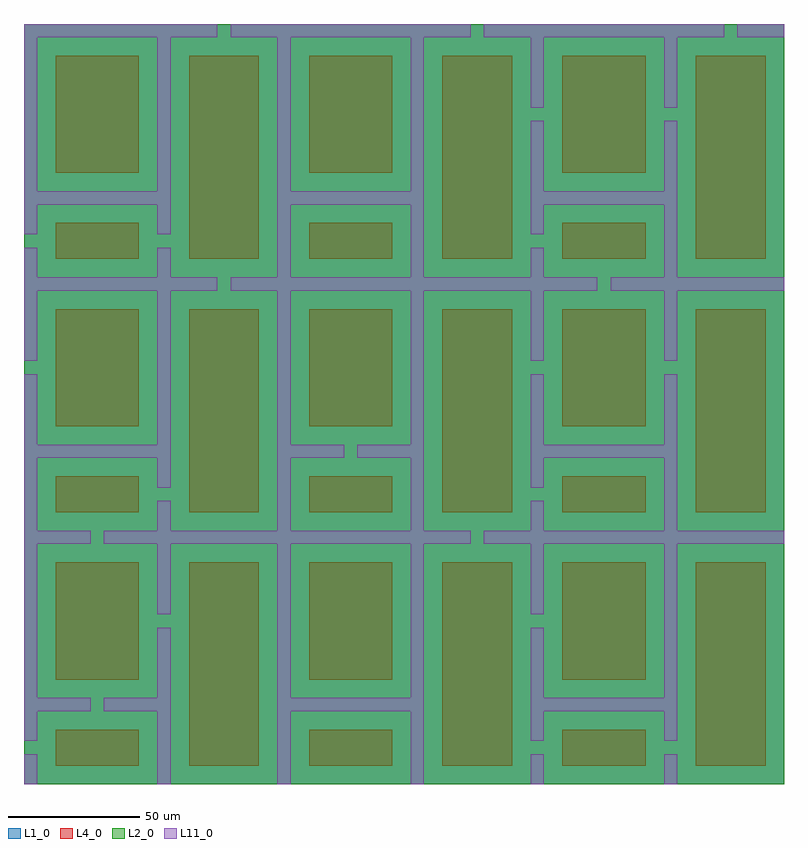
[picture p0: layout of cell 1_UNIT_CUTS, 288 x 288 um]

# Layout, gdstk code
import gdstk
lib = gdstk.Library(unit=1e-6, precision=1e-09)
def R(c, l, rs):  # rectangles x0, y0, x1, y1
    for r in rs: c.add(gdstk.rectangle(r[:2], r[2:], *l))
def P(c, l, *ps):  # polygons
    for p in ps: c.add(gdstk.Polygon(p, *l))
L1_0 = (1, 0)
L2_0 = (2, 0)
L4_0 = (4, 0)
L11_0 = (11, 0)

c_0_unit = lib.new_cell('0_UNIT')
R(c_0_unit, L1_0, [(0,0,96,96), (0,0,96,96), (0,0,96,96), (0,0,96,96), (0,0,96,96), (0,0,96,96), (0,0,96,96), (0,0,96,96), (0,0,96,96), (0,0,96,96), (0,0,96,96), (0,0,96,96), (0,0,96,96), (0,0,96,96), (0,0,96,96), (0,0,96,96), (0,0,96,96), (0,0,96,96), (0,0,96,96), (0,0,96,96), (0,0,96,96), (0,0,96,96), (0,0,96,96), (0,0,96,96), (0,0,96,96), (0,0,96,96), (0,0,96,96), (0,0,96,96), (0,0,96,96), (0,0,96,96), (0,0,96,96), (0,0,96,96)])
R(c_0_unit, L4_0, [(12,7,43.55,20.6), (12,7,43.55,20.6), (12,7,43.55,20.6), (12,7,43.55,20.6), (12,7,43.55,20.6), (12,7,43.55,20.6), (12,7,43.55,20.6), (12,7,43.55,20.6), (12,7,43.55,20.6), (12,7,43.55,20.6), (12,7,43.55,20.6), (12,7,43.55,20.6), (12,7,43.55,20.6), (12,7,43.55,20.6), (12,7,43.55,20.6), (12,7,43.55,20.6), (12,7,43.55,20.6), (12,7,43.55,20.6), (12,7,43.55,20.6), (12,7,43.55,20.6), (12,7,43.55,20.6), (12,7,43.55,20.6), (12,7,43.55,20.6), (12,7,43.55,20.6), (12,7,43.55,20.6), (12,7,43.55,20.6), (12,7,43.55,20.6), (12,7,43.55,20.6), (12,7,43.55,20.6), (12,7,43.55,20.6), (12,7,43.55,20.6), (12,7,43.55,20.6), (62.55,7,89,84), (62.55,7,89,84), (62.55,7,89,84), (62.55,7,89,84), (62.55,7,89,84), (62.55,7,89,84), (62.55,7,89,84), (62.55,7,89,84), (62.55,7,89,84), (62.55,7,89,84), (62.55,7,89,84), (62.55,7,89,84), (62.55,7,89,84), (62.55,7,89,84), (62.55,7,89,84), (62.55,7,89,84), (62.55,7,89,84), (62.55,7,89,84), (62.55,7,89,84), (62.55,7,89,84), (62.55,7,89,84), (62.55,7,89,84), (62.55,7,89,84), (62.55,7,89,84), (62.55,7,89,84), (62.55,7,89,84), (62.55,7,89,84), (62.55,7,89,84), (62.55,7,89,84), (62.55,7,89,84), (62.55,7,89,84), (62.55,7,89,84), (12,39.6,43.55,84), (12,39.6,43.55,84), (12,39.6,43.55,84), (12,39.6,43.55,84), (12,39.6,43.55,84), (12,39.6,43.55,84), (12,39.6,43.55,84), (12,39.6,43.55,84), (12,39.6,43.55,84), (12,39.6,43.55,84), (12,39.6,43.55,84), (12,39.6,43.55,84), (12,39.6,43.55,84), (12,39.6,43.55,84), (12,39.6,43.55,84), (12,39.6,43.55,84), (12,39.6,43.55,84), (12,39.6,43.55,84), (12,39.6,43.55,84), (12,39.6,43.55,84), (12,39.6,43.55,84), (12,39.6,43.55,84), (12,39.6,43.55,84), (12,39.6,43.55,84), (12,39.6,43.55,84), (12,39.6,43.55,84), (12,39.6,43.55,84), (12,39.6,43.55,84), (12,39.6,43.55,84), (12,39.6,43.55,84), (12,39.6,43.55,84), (12,39.6,43.55,84)])

c_1_unit = lib.new_cell('1_UNIT')
R(c_1_unit, L2_0, [(0,0,288,288), (0,0,288,288), (0,0,288,288), (0,0,288,288), (0,0,288,288), (0,0,288,288), (0,0,288,288), (0,0,288,288), (0,0,288,288), (0,0,288,288), (0,0,288,288), (0,0,288,288), (0,0,288,288), (0,0,288,288), (0,0,288,288), (0,0,288,288), (0,0,288,288), (0,0,288,288), (0,0,288,288), (0,0,288,288), (0,0,288,288), (0,0,288,288), (0,0,288,288), (0,0,288,288), (0,0,288,288), (0,0,288,288), (0,0,288,288), (0,0,288,288), (0,0,288,288), (0,0,288,288), (0,0,288,288), (0,0,288,288)])
r = gdstk.Reference(c_0_unit, (0,0)); r.repetition = gdstk.Repetition(3, 3, v1=(96,0), v2=(0,96)); c_1_unit.add(r)
r = gdstk.Reference(c_0_unit, (0,0)); r.repetition = gdstk.Repetition(3, 3, v1=(96,0), v2=(0,96)); c_1_unit.add(r)
r = gdstk.Reference(c_0_unit, (0,0)); r.repetition = gdstk.Repetition(3, 3, v1=(96,0), v2=(0,96)); c_1_unit.add(r)
r = gdstk.Reference(c_0_unit, (0,0)); r.repetition = gdstk.Repetition(3, 3, v1=(96,0), v2=(0,96)); c_1_unit.add(r)
r = gdstk.Reference(c_0_unit, (0,0)); r.repetition = gdstk.Repetition(3, 3, v1=(96,0), v2=(0,96)); c_1_unit.add(r)
r = gdstk.Reference(c_0_unit, (0,0)); r.repetition = gdstk.Repetition(3, 3, v1=(96,0), v2=(0,96)); c_1_unit.add(r)
r = gdstk.Reference(c_0_unit, (0,0)); r.repetition = gdstk.Repetition(3, 3, v1=(96,0), v2=(0,96)); c_1_unit.add(r)
r = gdstk.Reference(c_0_unit, (0,0)); r.repetition = gdstk.Repetition(3, 3, v1=(96,0), v2=(0,96)); c_1_unit.add(r)
r = gdstk.Reference(c_0_unit, (0,0)); r.repetition = gdstk.Repetition(3, 3, v1=(96,0), v2=(0,96)); c_1_unit.add(r)
r = gdstk.Reference(c_0_unit, (0,0)); r.repetition = gdstk.Repetition(3, 3, v1=(96,0), v2=(0,96)); c_1_unit.add(r)
r = gdstk.Reference(c_0_unit, (0,0)); r.repetition = gdstk.Repetition(3, 3, v1=(96,0), v2=(0,96)); c_1_unit.add(r)
r = gdstk.Reference(c_0_unit, (0,0)); r.repetition = gdstk.Repetition(3, 3, v1=(96,0), v2=(0,96)); c_1_unit.add(r)
r = gdstk.Reference(c_0_unit, (0,0)); r.repetition = gdstk.Repetition(3, 3, v1=(96,0), v2=(0,96)); c_1_unit.add(r)
r = gdstk.Reference(c_0_unit, (0,0)); r.repetition = gdstk.Repetition(3, 3, v1=(96,0), v2=(0,96)); c_1_unit.add(r)
r = gdstk.Reference(c_0_unit, (0,0)); r.repetition = gdstk.Repetition(3, 3, v1=(96,0), v2=(0,96)); c_1_unit.add(r)
r = gdstk.Reference(c_0_unit, (0,0)); r.repetition = gdstk.Repetition(3, 3, v1=(96,0), v2=(0,96)); c_1_unit.add(r)
r = gdstk.Reference(c_0_unit, (0,0)); r.repetition = gdstk.Repetition(3, 3, v1=(96,0), v2=(0,96)); c_1_unit.add(r)
r = gdstk.Reference(c_0_unit, (0,0)); r.repetition = gdstk.Repetition(3, 3, v1=(96,0), v2=(0,96)); c_1_unit.add(r)
r = gdstk.Reference(c_0_unit, (0,0)); r.repetition = gdstk.Repetition(3, 3, v1=(96,0), v2=(0,96)); c_1_unit.add(r)
r = gdstk.Reference(c_0_unit, (0,0)); r.repetition = gdstk.Repetition(3, 3, v1=(96,0), v2=(0,96)); c_1_unit.add(r)
r = gdstk.Reference(c_0_unit, (0,0)); r.repetition = gdstk.Repetition(3, 3, v1=(96,0), v2=(0,96)); c_1_unit.add(r)
r = gdstk.Reference(c_0_unit, (0,0)); r.repetition = gdstk.Repetition(3, 3, v1=(96,0), v2=(0,96)); c_1_unit.add(r)
r = gdstk.Reference(c_0_unit, (0,0)); r.repetition = gdstk.Repetition(3, 3, v1=(96,0), v2=(0,96)); c_1_unit.add(r)
r = gdstk.Reference(c_0_unit, (0,0)); r.repetition = gdstk.Repetition(3, 3, v1=(96,0), v2=(0,96)); c_1_unit.add(r)
r = gdstk.Reference(c_0_unit, (0,0)); r.repetition = gdstk.Repetition(3, 3, v1=(96,0), v2=(0,96)); c_1_unit.add(r)
r = gdstk.Reference(c_0_unit, (0,0)); r.repetition = gdstk.Repetition(3, 3, v1=(96,0), v2=(0,96)); c_1_unit.add(r)
r = gdstk.Reference(c_0_unit, (0,0)); r.repetition = gdstk.Repetition(3, 3, v1=(96,0), v2=(0,96)); c_1_unit.add(r)
r = gdstk.Reference(c_0_unit, (0,0)); r.repetition = gdstk.Repetition(3, 3, v1=(96,0), v2=(0,96)); c_1_unit.add(r)
r = gdstk.Reference(c_0_unit, (0,0)); r.repetition = gdstk.Repetition(3, 3, v1=(96,0), v2=(0,96)); c_1_unit.add(r)
r = gdstk.Reference(c_0_unit, (0,0)); r.repetition = gdstk.Repetition(3, 3, v1=(96,0), v2=(0,96)); c_1_unit.add(r)
r = gdstk.Reference(c_0_unit, (0,0)); r.repetition = gdstk.Repetition(3, 3, v1=(96,0), v2=(0,96)); c_1_unit.add(r)
r = gdstk.Reference(c_0_unit, (0,0)); r.repetition = gdstk.Repetition(3, 3, v1=(96,0), v2=(0,96)); c_1_unit.add(r)

c_1_unit_cuts = lib.new_cell('1_UNIT_CUTS')
R(c_1_unit_cuts, L11_0, [(0,0,5,11.3), (192,0,197,11.3), (242.55,0,247.55,11.3), (270.275,283,288,288)])
P(c_1_unit_cuts, L11_0, [(50.55,0),(50.55,27.6),(30.275,27.6),(30.275,32.6),(50.55,32.6),(50.55,59.3),(55.55,59.3),(55.55,0)],
  [(192,16.3),(192,59.3),(197,59.3),(197,32.6),(242.55,32.6),(242.55,91),(197,91),(197,64.3),(192,64.3),(192,91),(174.275,91),(174.275,96),(192,96),(192,107.3),(197,107.3),(197,96),(242.55,96),(242.55,123.6),(197,123.6),(197,112.3),(192,112.3),(192,155.3),(197,155.3),(197,128.6),(242.55,128.6),(242.55,155.3),(247.55,155.3),(247.55,96),(288,96),(288,91),(247.55,91),(247.55,16.3),(242.55,16.3),(242.55,27.6),(197,27.6),(197,16.3)],
  [(0,16.3),(0,155.3),(5,155.3),(5,128.6),(50.55,128.6),(50.55,187),(5,187),(5,160.3),(0,160.3),(0,203.3),(5,203.3),(5,192),(50.55,192),(50.55,203.3),(55.55,203.3),(55.55,192),(73.275,192),(73.275,187),(55.55,187),(55.55,112.3),(50.55,112.3),(50.55,123.6),(5,123.6),(5,96),(25.275,96),(25.275,91),(5,91),(5,32.6),(25.275,32.6),(25.275,27.6),(5,27.6),(5,16.3)],
  [(242.55,160.3),(242.55,187),(222.275,187),(222.275,192),(242.55,192),(242.55,219.6),(197,219.6),(197,208.3),(192,208.3),(192,251.3),(197,251.3),(197,224.6),(242.55,224.6),(242.55,251.3),(247.55,251.3),(247.55,192),(288,192),(288,187),(247.55,187),(247.55,160.3)],
  [(0,208.3),(0,283),(5,283),(5,224.6),(50.55,224.6),(50.55,283),(0,283),(0,288),(73.275,288),(73.275,283),(55.55,283),(55.55,208.3),(50.55,208.3),(50.55,219.6),(5,219.6),(5,208.3)],
  [(96,0),(96,91),(55.55,91),(55.55,64.3),(50.55,64.3),(50.55,91),(101,91),(101,32.6),(146.55,32.6),(146.55,91),(30.275,91),(30.275,96),(50.55,96),(50.55,107.3),(55.55,107.3),(55.55,96),(96,96),(96,187),(101,187),(101,128.6),(121.275,128.6),(121.275,123.6),(101,123.6),(101,96),(146.55,96),(146.55,123.6),(126.275,123.6),(126.275,128.6),(146.55,128.6),(146.55,187),(78.275,187),(78.275,192),(96,192),(96,219.6),(101,219.6),(101,192),(146.55,192),(146.55,219.6),(96,219.6),(96,283),(101,283),(101,224.6),(146.55,224.6),(146.55,283),(78.275,283),(78.275,288),(169.275,288),(169.275,283),(151.55,283),(151.55,192),(192,192),(192,203.3),(197,203.3),(197,192),(217.275,192),(217.275,187),(197,187),(197,160.3),(192,160.3),(192,187),(151.55,187),(151.55,96),(169.275,96),(169.275,91),(151.55,91),(151.55,0),(146.55,0),(146.55,27.6),(101,27.6),(101,0)],
  [(192,256.3),(192,283),(174.275,283),(174.275,288),(265.275,288),(265.275,283),(247.55,283),(247.55,256.3),(242.55,256.3),(242.55,283),(197,283),(197,256.3)])
c_1_unit_cuts.add(gdstk.Reference(c_1_unit, (0,0)))

lib.write_gds('1_UNIT_CUTS.gds')
